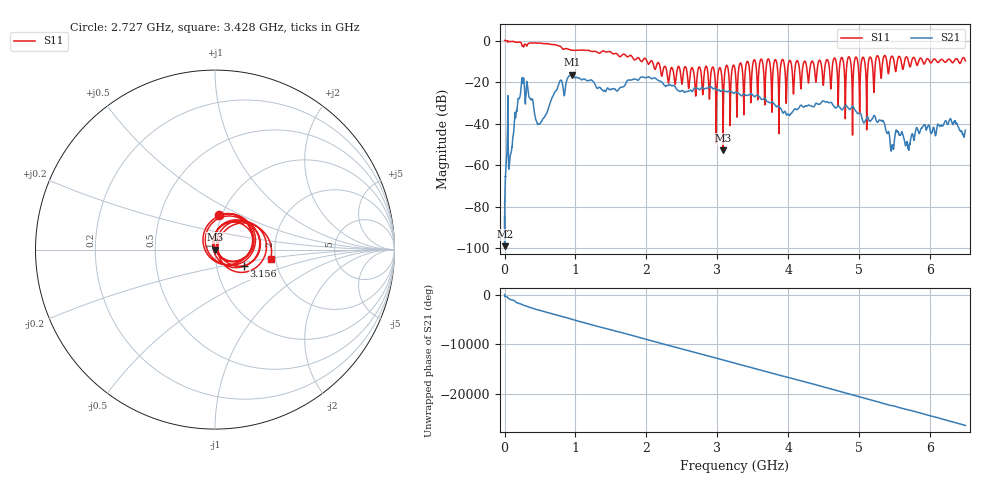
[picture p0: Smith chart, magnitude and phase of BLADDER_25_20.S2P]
!Keysight Technologies,E5063A,MY54503115,A.05.08
!Date: Sun Feb 04 18:51:20 2024
!Data & Calibration Information:
!Freq	S11:NONE(--)	S21:NONE(--)	S12:NONE(--)	S22:NONE(--)
# Hz S dB R 50
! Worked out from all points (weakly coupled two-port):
!   10001 points, 100 kHz to 6.5 GHz, reference 50 ohm
!   highest |S21| = -16.48 dB at 952.3 MHz (marker M1); lowest = -99.0 dB at 750 kHz (marker M2)
!   lowest |S11| = -52.9 dB at 3.083 GHz (marker M3), VSWR 1.00, Z = 50.2 + j0.0535 ohm
!   |S11| at or under -10 dB: 2.083 GHz to 3.509 GHz (1.427 GHz wide, 51 % of centre); 4.136 GHz to 4.229 GHz (92.73 MHz wide, 2.22 % of centre); 4.239 GHz to 4.333 GHz (93.77 MHz wide, 2.19 % of centre) (the widest 3 of 32)
!   S12 and S22 are empty: the file has one direction only
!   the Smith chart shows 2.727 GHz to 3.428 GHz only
!   S11 on the Smith chart (normalised r, x): 2.727 GHz: 0.97, +0.39; 3.156 GHz: 1.36, -0.26; 3.428 GHz: 1.89, -0.21
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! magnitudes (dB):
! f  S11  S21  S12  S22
! 100 kHz  0.0  -84.9  -  -
! 750 kHz  0.0  -99.0  -  -
! 39.75 MHz  -0.2  -45.3  -  -
! 87.2 MHz  -0.5  -54.4  -  -
! 248.4 MHz  -2.8  -18.5  -  -
! 489.5 MHz  -1.2  -40.1  -  -
! 952.3 MHz  -4.6  -16.5  -  -
! 1.084 GHz  -4.6  -18.9  -  -
! 2.167 GHz  -10.6  -19.2  -  -
! 2.727 GHz  -14.3  -23.1  -  -
! 3.083 GHz  -52.9  -23.9  -  -
! 3.156 GHz  -14.6  -24.5  -  -
! 3.25 GHz  -13.9  -25.0  -  -
! 3.428 GHz  -10.0  -26.4  -  -
! 3.821 GHz  -9.2  -31.3  -  -
! 3.87 GHz  -43.5  -31.8  -  -
! 3.92 GHz  -9.1  -34.6  -  -
! 3.973 GHz  -29.9  -35.6  -  -
! 4.334 GHz  -10.0  -31.5  -  -
! 4.916 GHz  -19.1  -31.7  -  -
! 5.417 GHz  -15.7  -43.9  -  -
! 6.5 GHz  -9.8  -43.1  -  -
